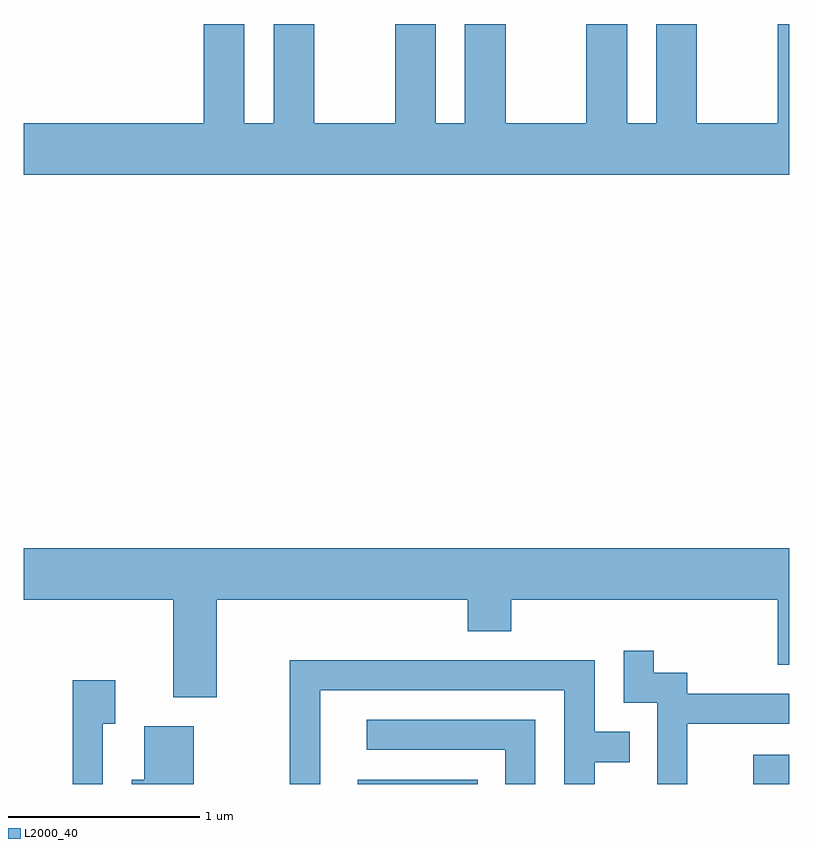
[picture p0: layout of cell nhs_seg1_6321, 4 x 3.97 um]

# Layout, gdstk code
import gdstk
lib = gdstk.Library(unit=1e-6, precision=1e-09)
def R(c, l, rs):  # rectangles x0, y0, x1, y1
    for r in rs: c.add(gdstk.rectangle(r[:2], r[2:], *l))
def P(c, l, *ps):  # polygons
    for p in ps: c.add(gdstk.Polygon(p, *l))
L2000_40 = (2000, 40)

nhs_seg1_6321 = lib.new_cell('nhs_seg1_6321')
R(nhs_seg1_6321, L2000_40, [(377.356,909.712,377.983,909.734), (379.423,909.712,379.611,909.864)])
P(nhs_seg1_6321, L2000_40, [(379.611,913.684),(379.551,913.684),(379.551,913.164),(379.129,913.164),(379.129,913.684),(378.916,913.684),(378.916,913.164),(378.764,913.164),(378.764,913.684),(378.551,913.684),(378.551,913.164),(378.129,913.164),(378.129,913.684),(377.916,913.684),(377.916,913.164),(377.764,913.164),(377.764,913.684),(377.551,913.684),(377.551,913.164),(377.129,913.164),(377.129,913.684),(376.916,913.684),(376.916,913.164),(376.764,913.164),(376.764,913.684),(376.551,913.684),(376.551,913.164),(375.611,913.164),(375.611,912.896),(379.611,912.896)],
  [(376.619,910.676),(377.931,910.676),(377.931,910.511),(378.159,910.511),(378.159,910.676),(379.551,910.676),(379.551,910.336),(379.611,910.336),(379.611,910.944),(375.611,910.944),(375.611,910.676),(376.391,910.676),(376.391,910.166),(376.619,910.166)],
  [(379.079,910.026),(379.611,910.026),(379.611,910.184),(379.079,910.184),(379.079,910.294),(378.904,910.294),(378.904,910.408),(378.746,910.408),(378.746,910.136),(378.921,910.136),(378.921,909.712),(379.079,909.712)],
  [(377.159,910.201),(378.436,910.201),(378.436,909.712),(378.594,909.712),(378.594,909.826),(378.778,909.826),(378.778,909.984),(378.594,909.984),(378.594,910.359),(377.001,910.359),(377.001,909.712),(377.159,909.712)],
  [(376.024,910.026),(376.089,910.026),(376.089,910.254),(375.866,910.254),(375.866,909.712),(376.024,909.712)],
  [(378.284,910.049),(377.403,910.049),(377.403,909.891),(378.126,909.891),(378.126,909.712),(378.284,909.712)],
  [(376.499,910.014),(376.241,910.014),(376.241,909.734),(376.176,909.734),(376.176,909.712),(376.499,909.712)])

lib.write_gds('nhs_seg1_6321.gds')
